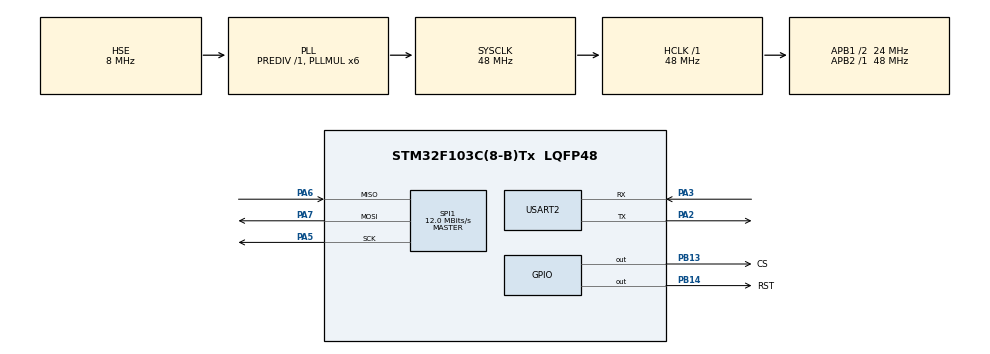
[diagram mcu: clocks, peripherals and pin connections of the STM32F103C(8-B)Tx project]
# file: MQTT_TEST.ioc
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Mcu.Family=STM32F1
Mcu.Name=STM32F103C(8-B)Tx
Mcu.Package=LQFP48
NVIC.PriorityGroup=NVIC_PRIORITYGROUP_4
PA13.Mode=Serial_Wire
PA13.Signal=SYS_JTMS-SWDIO
PA14.Mode=Serial_Wire
PA14.Signal=SYS_JTCK-SWCLK
PA2.Mode=Asynchronous
PA2.Signal=USART2_TX
PA3.Mode=Asynchronous
PA3.Signal=USART2_RX
PA5.Mode=Full_Duplex_Master
PA5.Signal=SPI1_SCK
PA6.Mode=Full_Duplex_Master
PA6.Signal=SPI1_MISO
PA7.Mode=Full_Duplex_Master
PA7.Signal=SPI1_MOSI
PB13.GPIO_Label=CS
PB13.Signal=GPIO_Output
PB14.GPIO_Label=RST
PB14.Signal=GPIO_Output
PD0-OSC_IN.Mode=HSE-External-Oscillator
PD0-OSC_IN.Signal=RCC_OSC_IN
PD1-OSC_OUT.Mode=HSE-External-Oscillator
PD1-OSC_OUT.Signal=RCC_OSC_OUT
ProjectManager.HeapSize=0x200
ProjectManager.StackSize=0x400
ProjectManager.TargetToolchain=STM32CubeIDE
RCC.AHBFreq_Value=48000000
RCC.APB1CLKDivider=RCC_HCLK_DIV2
RCC.APB1Freq_Value=24000000
RCC.APB1TimFreq_Value=48000000
RCC.APB2Freq_Value=48000000
RCC.APB2TimFreq_Value=48000000
RCC.HCLKFreq_Value=48000000
RCC.HSICalibrationValue=8
RCC.PLLMUL=RCC_PLL_MUL6
RCC.PLLSourceVirtual=RCC_PLLSOURCE_HSE
RCC.SYSCLKFreq_VALUE=48000000
RCC.SYSCLKSource=RCC_SYSCLKSOURCE_PLLCLK
RCC.USBFreq_Value=48000000
SPI1.BaudRatePrescaler=SPI_BAUDRATEPRESCALER_4
SPI1.CalculateBaudRate=12.0 MBits/s
SPI1.Direction=SPI_DIRECTION_2LINES
SPI1.Mode=SPI_MODE_MASTER
SPI1.VirtualType=VM_MASTER
USART2.VirtualMode=VM_ASYNC
board=custom

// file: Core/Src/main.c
/* USER CODE BEGIN Header */
/**
  ******************************************************************************
  * @file           : main.c
  * @brief          : Main program body
  ******************************************************************************
  * @attention
  *
  * Copyright (c) 2023 STMicroelectronics.
  * All rights reserved.
  *
  * This software is licensed under terms that can be found in the LICENSE file
  * in the root directory of this software component.
  * If no LICENSE file comes with this software, it is provided AS-IS.
  *
  ******************************************************************************
  */
/* USER CODE END Header */
#include "main.h"

/* USER CODE BEGIN Includes */
#include <stdio.h>
#include <string.h>
#include "w5500_spi.h"
#include "socket.h"
#include "wizchip_conf.h"
#include "mqtt_interface.h"
#include "MQTTClient.h"
/* USER CODE END Includes */

/* USER CODE BEGIN PD */
#define BUFFER_SIZE	2048
/* USER CODE END PD */

SPI_HandleTypeDef hspi1;

UART_HandleTypeDef huart2;

/* USER CODE BEGIN PV */
wiz_NetInfo WIZNETINFO = {
		.mac  = {0x00, 0x08, 0xdc, 0xab, 0xcd, 0xef},
		.ip = {192, 168, 18, 177},
		.sn = {255, 255, 255, 0},
		.gw = {192, 168, 18, 1},
		.dns = {8, 8, 8, 8},
		.dhcp = NETINFO_STATIC
};

char MQTTBroker[4] = {54,209,153,0};
int targetPort = 1883;

struct opts_struct
{
	char* clientid;
	int nodelimiter;
	char* delimiter;
	enum QoS qos;
	char* username;
	char* password;
	char* host;
	int port;
	int showtopics;
} opts =
{
	(char*)"stdout-subscriber", 1, (char*)"\n", QOS1, "", "", (char*)"localhost", 1883, 0
};

//FUNCION QUE SE EJECUTA CADA VEZ QUE VIENE UN NUEVO MENSAJE EN UNO DE LOS TOPICOS SUSCRITOS
void messageArrived(MessageData* md)
{
	MQTTMessage* message = md->message;
	MQTTString* topic = md->topicName;
	char msg_payload[10];
	char msg_topic[10];

	sprintf(msg_topic, "%.*s", (int)topic->lenstring.len,(char*)topic->lenstring.data);		//TOPICO
	sprintf(msg_payload, "%.*s", (int)message->payloadlen, (char*)message->payload);		//PAYLOAD

	printf("%s\r\n", msg_payload);
	printf("%s\r\n", msg_topic);

	if(!strcmp(msg_topic, "cabina01/mesa")){
		if(!strcmp(msg_payload, "true"))
			printf("prende\r\n");
		else if(!strcmp(msg_payload, "false"))
			printf("apaga\r\n");
	}
}

char *topics[] = {"mesa", "repisa"};
int ncabinas = 9;

unsigned char tempBuffer[BUFFER_SIZE] = {};
/* USER CODE END PV */

void SystemClock_Config(void);
static void MX_GPIO_Init(void);
static void MX_SPI1_Init(void);
static void MX_USART2_UART_Init(void);
/* USER CODE BEGIN PFP */
static void PHYStatusCheck(void);
static void PrintPHYConf(void);
static void subscriptionTopics(int rc, Client c);
/* USER CODE END PFP */

/* USER CODE BEGIN 0 */
#ifdef __GNUC__
#define PUTCHAR_PROTOTYPE int __io_putchar(int ch)
#else
#define PUTCHAR_PROTOTYPE int fputc(int ch, FILE *f)
#endif

PUTCHAR_PROTOTYPE
{
  HAL_UART_Transmit(&huart2, (uint8_t *)&ch, 1, HAL_MAX_DELAY);
  return ch;
}
/* USER CODE END 0 */

int main(void)
{

  /* MCU Configuration--------------------------------------------------------*/

  /* Reset of all peripherals, Initializes the Flash interface and the Systick. */
  HAL_Init();

  /* Configure the system clock */
  SystemClock_Config();

  /* Initialize all configured peripherals */
  MX_GPIO_Init();
  MX_SPI1_Init();
  MX_USART2_UART_Init();
  /* USER CODE BEGIN 2 */
  W5500Init();												//INICIALIZA EL WIZ5500

  ctlnetwork(CN_SET_NETINFO, (void*) &WIZNETINFO);			//ENVIA LA INFO DE LA MAC, DNS, IP

  PHYStatusCheck();											//CHEQUEA QUE LA CAPA FISICA ESTE CORRECTAMENTE
  PrintPHYConf();
  /* USER CODE END 2 */

  /* Infinite loop */
  /* USER CODE BEGIN WHILE */
  Network n;
  Client c;
  unsigned char buf[100];
  int rc = 0;

  n.my_socket = 0;
  NewNetwork(&n);
  ConnectNetwork(&n, MQTTBroker, targetPort);				//DATOS DE CONEXION PASADOS A LA VARIABLE N
  MQTTClient(&c,&n,1000,buf,100,tempBuffer,2048);			//PASA LA INFORMACION A LA VARIABLE C

  //DATOS DE LA CONEXION DEL CLIENTE
  MQTTPacket_connectData data = MQTTPacket_connectData_initializer;
  data.willFlag = 0;
  data.MQTTVersion = 3;
  data.clientID.cstring = opts.clientid;
  data.keepAliveInterval = 60;
  data.cleansession = 1;

  rc = MQTTConnect(&c, &data);								//CONEXION AL SERVIDOR MQTT

  subscriptionTopics(rc, c);								//SI LA CONEXION ES EXITOSA SE SUSCRIBE A LOS TOPICOS
  	  	  	  	  	  	  	  	  	  	  	  	  	  	    //SINO NO SE SUSCRIBE A NADA
  while (1)
  {
    /* USER CODE END WHILE */

    /* USER CODE BEGIN 3 */
	  MQTTYield(&c, 1000);									//HACE LA RECONEXION EN CASO SE CAIGA
  }
  /* USER CODE END 3 */
}

void SystemClock_Config(void)
{
  RCC_OscInitTypeDef RCC_OscInitStruct = {0};
  RCC_ClkInitTypeDef RCC_ClkInitStruct = {0};

  /** Initializes the RCC Oscillators according to the specified parameters
  * in the RCC_OscInitTypeDef structure.
  */
  RCC_OscInitStruct.OscillatorType = RCC_OSCILLATORTYPE_HSE;
  RCC_OscInitStruct.HSEState = RCC_HSE_ON;
  RCC_OscInitStruct.HSEPredivValue = RCC_HSE_PREDIV_DIV1;
  RCC_OscInitStruct.HSIState = RCC_HSI_ON;
  RCC_OscInitStruct.PLL.PLLState = RCC_PLL_ON;
  RCC_OscInitStruct.PLL.PLLSource = RCC_PLLSOURCE_HSE;
  RCC_OscInitStruct.PLL.PLLMUL = RCC_PLL_MUL6;
  if (HAL_RCC_OscConfig(&RCC_OscInitStruct) != HAL_OK)
  {
    Error_Handler();
  }

  /** Initializes the CPU, AHB and APB buses clocks
  */
  RCC_ClkInitStruct.ClockType = RCC_CLOCKTYPE_HCLK|RCC_CLOCKTYPE_SYSCLK
                              |RCC_CLOCKTYPE_PCLK1|RCC_CLOCKTYPE_PCLK2;
  RCC_ClkInitStruct.SYSCLKSource = RCC_SYSCLKSOURCE_PLLCLK;
  RCC_ClkInitStruct.AHBCLKDivider = RCC_SYSCLK_DIV1;
  RCC_ClkInitStruct.APB1CLKDivider = RCC_HCLK_DIV2;
  RCC_ClkInitStruct.APB2CLKDivider = RCC_HCLK_DIV1;

  if (HAL_RCC_ClockConfig(&RCC_ClkInitStruct, FLASH_LATENCY_1) != HAL_OK)
  {
    Error_Handler();
  }
}

static void MX_SPI1_Init(void)
{

  /* SPI1 parameter configuration*/
  hspi1.Instance = SPI1;
  hspi1.Init.Mode = SPI_MODE_MASTER;
  hspi1.Init.Direction = SPI_DIRECTION_2LINES;
  hspi1.Init.DataSize = SPI_DATASIZE_8BIT;
  hspi1.Init.CLKPolarity = SPI_POLARITY_LOW;
  hspi1.Init.CLKPhase = SPI_PHASE_1EDGE;
  hspi1.Init.NSS = SPI_NSS_SOFT;
  hspi1.Init.BaudRatePrescaler = SPI_BAUDRATEPRESCALER_4;
  hspi1.Init.FirstBit = SPI_FIRSTBIT_MSB;
  hspi1.Init.TIMode = SPI_TIMODE_DISABLE;
  hspi1.Init.CRCCalculation = SPI_CRCCALCULATION_DISABLE;
  hspi1.Init.CRCPolynomial = 10;
  if (HAL_SPI_Init(&hspi1) != HAL_OK)
  {
    Error_Handler();
  }
  /* USER CODE BEGIN SPI1_Init 2 */
  __HAL_SPI_ENABLE(&hspi1);
  /* USER CODE END SPI1_Init 2 */

}

static void MX_USART2_UART_Init(void)
{

  huart2.Instance = USART2;
  huart2.Init.BaudRate = 115200;
  huart2.Init.WordLength = UART_WORDLENGTH_8B;
  huart2.Init.StopBits = UART_STOPBITS_1;
  huart2.Init.Parity = UART_PARITY_NONE;
  huart2.Init.Mode = UART_MODE_TX_RX;
  huart2.Init.HwFlowCtl = UART_HWCONTROL_NONE;
  huart2.Init.OverSampling = UART_OVERSAMPLING_16;
  if (HAL_UART_Init(&huart2) != HAL_OK)
  {
    Error_Handler();
  }

}

static void MX_GPIO_Init(void)
{
  GPIO_InitTypeDef GPIO_InitStruct = {0};

  /* GPIO Ports Clock Enable */
  __HAL_RCC_GPIOD_CLK_ENABLE();
  __HAL_RCC_GPIOA_CLK_ENABLE();
  __HAL_RCC_GPIOB_CLK_ENABLE();

  /*Configure GPIO pin Output Level */
  HAL_GPIO_WritePin(GPIOB, CS_Pin|RST_Pin, GPIO_PIN_RESET);

  /*Configure GPIO pins : CS_Pin RST_Pin */
  GPIO_InitStruct.Pin = CS_Pin|RST_Pin;
  GPIO_InitStruct.Mode = GPIO_MODE_OUTPUT_PP;
  GPIO_InitStruct.Pull = GPIO_NOPULL;
  GPIO_InitStruct.Speed = GPIO_SPEED_FREQ_LOW;
  HAL_GPIO_Init(GPIOB, &GPIO_InitStruct);

}

/* USER CODE BEGIN 4 */
void PHYStatusCheck(void)
{
	uint8_t tmp;

	do
	{
		printf("\r\nChecking Ethernet Cable Presence ...");
		ctlwizchip(CW_GET_PHYLINK, (void*) &tmp);

		if(tmp == PHY_LINK_OFF)
		{
			printf("NO Cable Connected!");
			HAL_Delay(1500);
		}
	}while(tmp == PHY_LINK_OFF);

	printf("Good! Cable got connected!");

}

void PrintPHYConf(void)
{
	wiz_PhyConf phyconf;

	ctlwizchip(CW_GET_PHYCONF, (void*) &phyconf);

	if(phyconf.by==PHY_CONFBY_HW)
	{
		printf("\n\rPHY Configured by Hardware Pins");
	}
	else
	{
		printf("\n\rPHY Configured by Registers");
	}

	if(phyconf.mode==PHY_MODE_AUTONEGO)
	{
		printf("\n\rAutonegotiation Enabled");
	}
	else
	{
		printf("\n\rAutonegotiation NOT Enabled");
	}

	if(phyconf.duplex==PHY_DUPLEX_FULL)
	{
		printf("\n\rDuplex Mode: Full");
	}
	else
	{
		printf("\n\rDuplex Mode: Half");
	}

	if(phyconf.speed==PHY_SPEED_10)
	{
		printf("\n\rSpeed: 10Mbps");
	}
	else
	{
		printf("\n\rSpeed: 100Mbps");
	}
}

static void subscriptionTopics(int rc,Client c){
	if (rc == SUCCESSS){
		printf("Success connection to MQTT Broker\r\n");
		for (int i=0; i<ncabinas; i++){
			for (int j=0; j<2; j++){
				char buf[30];
				snprintf(buf, 30, "cabina0%d/%s", i+1, topics[j]);
				printf("Subscribing to %s\r\n", buf);
				MQTTSubscribe(&c, buf, opts.qos, messageArrived);
			}
		}
	}
	else if(rc == FAILURE)
		printf("Failed connection to MQTT Broker\r\n");
}
/* USER CODE END 4 */

void Error_Handler(void)
{
  __disable_irq();
  while (1)
  {
  }
}
